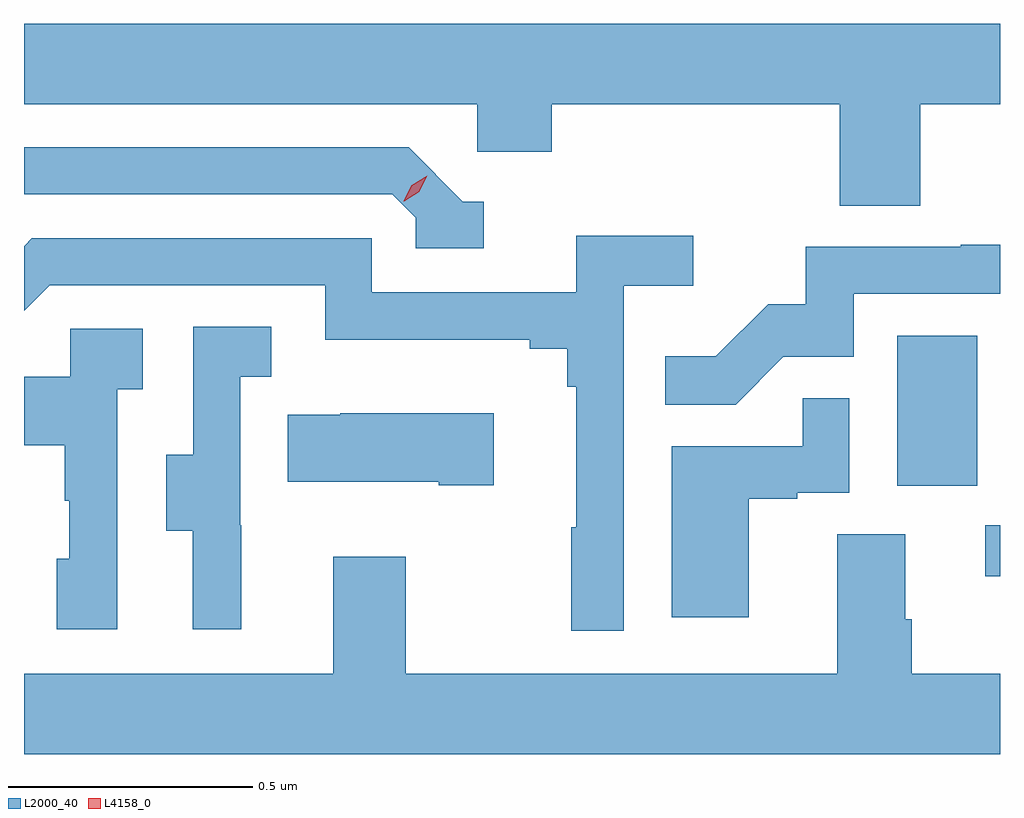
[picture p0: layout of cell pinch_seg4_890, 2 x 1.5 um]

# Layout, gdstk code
import gdstk
lib = gdstk.Library(unit=1e-6, precision=1e-09)
def R(c, l, rs):  # rectangles x0, y0, x1, y1
    for r in rs: c.add(gdstk.rectangle(r[:2], r[2:], *l))
def P(c, l, *ps):  # polygons
    for p in ps: c.add(gdstk.Polygon(p, *l))
L2000_40 = (2000, 40)
L4158_0 = (4158, 0)

pinch_seg4_890 = lib.new_cell('pinch_seg4_890')
R(pinch_seg4_890, L2000_40, [(843.975,803.844,844.005,803.949), (843.794,804.03,843.958,804.337)])
P(pinch_seg4_890, L2000_40, [(843.842,804.812),(844.005,804.812),(844.005,804.976),(842.005,804.976),(842.005,804.812),(842.934,804.812),(842.934,804.714),(843.086,804.714),(843.086,804.812),(843.677,804.812),(843.677,804.604),(843.842,804.604)],
  [(842.947,804.612),(842.904,804.612),(842.793,804.723),(842.005,804.723),(842.005,804.627),(842.76,804.627),(842.808,804.579),(842.808,804.516),(842.947,804.516)],
  [(843.234,804.44),(843.376,804.44),(843.376,804.542),(843.137,804.542),(843.137,804.426),(842.718,804.426),(842.718,804.537),(842.021,804.537),(842.005,804.521),(842.005,804.388),(842.058,804.441),(842.622,804.441),(842.622,804.329),(843.041,804.329),(843.041,804.31),(843.118,804.31),(843.118,804.233),(843.137,804.233),(843.137,803.945),(843.126,803.945),(843.126,803.733),(843.234,803.733)],
  [(843.561,804.294),(843.705,804.294),(843.705,804.423),(844.005,804.423),(844.005,804.524),(843.925,804.524),(843.925,804.519),(843.607,804.519),(843.607,804.402),(843.53,804.402),(843.423,804.295),(843.319,804.295),(843.319,804.196),(843.463,804.196)],
  [(842.45,803.949),(842.448,803.949),(842.448,804.253),(842.512,804.253),(842.512,804.356),(842.352,804.356),(842.352,804.093),(842.297,804.093),(842.297,803.938),(842.351,803.938),(842.351,803.736),(842.45,803.736)],
  [(842.196,804.227),(842.248,804.227),(842.248,804.351),(842.1,804.351),(842.1,804.253),(842.005,804.253),(842.005,804.113),(842.088,804.113),(842.088,803.999),(842.098,803.999),(842.098,803.88),(842.072,803.88),(842.072,803.736),(842.196,803.736)],
  [(843.49,804.003),(843.59,804.003),(843.59,804.015),(843.696,804.015),(843.696,804.209),(843.601,804.209),(843.601,804.111),(843.332,804.111),(843.332,803.76),(843.49,803.76)],
  [(842.968,804.178),(842.653,804.178),(842.653,804.175),(842.545,804.175),(842.545,804.038),(842.855,804.038),(842.855,804.031),(842.968,804.031)],
  [(844.005,803.644),(843.824,803.644),(843.824,803.756),(843.811,803.756),(843.811,803.93),(843.671,803.93),(843.671,803.644),(842.787,803.644),(842.787,803.884),(842.639,803.884),(842.639,803.644),(842.005,803.644),(842.005,803.48),(844.005,803.48)])
P(pinch_seg4_890, L4158_0, [(842.783,804.613),(842.783,804.614),(842.8,804.646),(842.831,804.665),(842.831,804.665),(842.831,804.665),(842.815,804.632),(842.784,804.613)])

lib.write_gds('pinch_seg4_890.gds')
